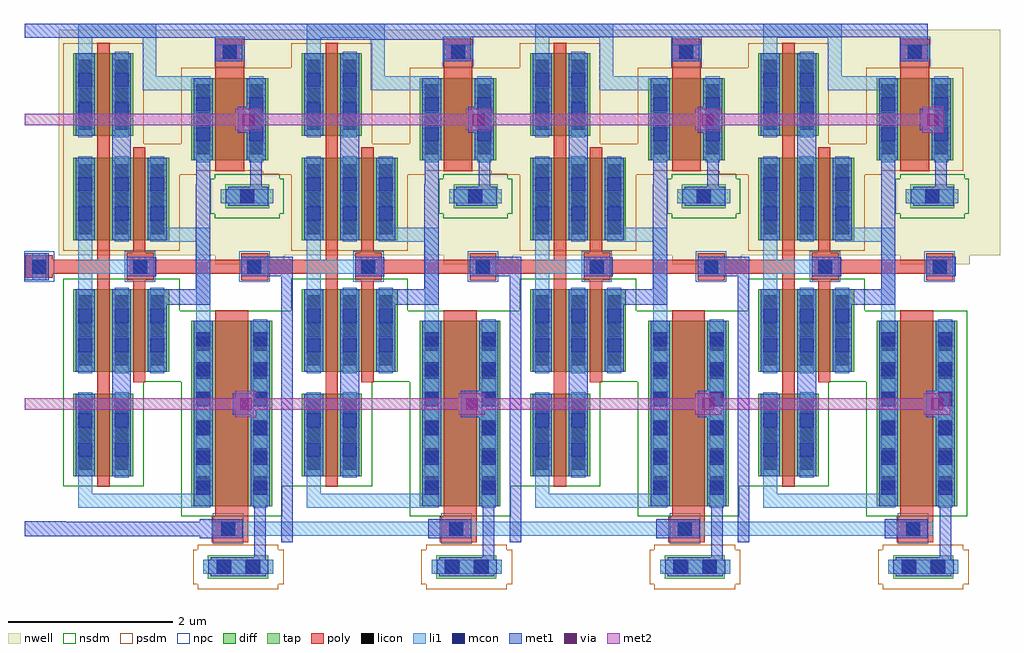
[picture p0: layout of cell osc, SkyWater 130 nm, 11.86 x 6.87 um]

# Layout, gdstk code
import gdstk
lib = gdstk.Library(unit=1e-6, precision=1e-09)
def R(c, l, rs):  # rectangles x0, y0, x1, y1
    for r in rs: c.add(gdstk.rectangle(r[:2], r[2:], *l))
def A(c, l, x, y, w, h, nx, ny, dx, dy):  # array of equal rectangles
    R(c, l, [(x+i*dx, y+j*dy, x+i*dx+w, y+j*dy+h) for i in range(nx) for j in range(ny)])
nwell = (64, 20)
diff = (65, 20)
tap = (65, 44)
poly = (66, 20)
licon = (66, 44)
li1 = (67, 20)
mcon = (67, 44)
met1 = (68, 20)
via = (68, 44)
met2 = (69, 20)
nsdm = (93, 44)
psdm = (94, 20)
npc = (95, 20)

sky130_fd_pr__nfet_01v8_ = lib.new_cell('sky130_fd_pr__nfet_01v8_3RATTY')
R(sky130_fd_pr__nfet_01v8_, diff, [(-0.49,-0.97,0.49,1.28)])
R(sky130_fd_pr__nfet_01v8_, poly, [(-0.245,-1.41,0.2,-1.1), (-0.2,-1.1,0.2,1.41)])
A(sky130_fd_pr__nfet_01v8_, licon, -0.43, -0.78, 0.17, 0.17, 1, 6, 0, 0.34)
A(sky130_fd_pr__nfet_01v8_, licon, 0.26, -0.78, 0.17, 0.17, 1, 6, 0, 0.34)
R(sky130_fd_pr__nfet_01v8_, licon, [(-0.13,-1.33,0.04,-1.16)])
R(sky130_fd_pr__nfet_01v8_, li1, [(-0.245,-1.33,0.155,-1.16), (-0.43,-0.99,-0.26,1.3), (0.26,-0.99,0.43,1.3)])
A(sky130_fd_pr__nfet_01v8_, mcon, -0.43, -0.83, 0.17, 0.17, 1, 6, 0, 0.36)
A(sky130_fd_pr__nfet_01v8_, mcon, 0.26, -0.83, 0.17, 0.17, 1, 6, 0, 0.36)
R(sky130_fd_pr__nfet_01v8_, mcon, [(-0.13,-1.33,0.04,-1.16)])
R(sky130_fd_pr__nfet_01v8_, met1, [(-0.225,-1.36,0.135,-1.13), (-0.46,-0.97,-0.23,1.28), (0.23,-0.97,0.46,1.28)])
R(sky130_fd_pr__nfet_01v8_, nsdm, [(-0.615,-1.095,0.615,1.405)])
R(sky130_fd_pr__nfet_01v8_, npc, [(-0.23,-1.43,0.14,-1.06)])

sky130_fd_pr__pfet_01v8_ = lib.new_cell('sky130_fd_pr__pfet_01v8_HW9MHL')
R(sky130_fd_pr__pfet_01v8_, nwell, [(-0.645,-0.99,0.645,0.8)])
R(sky130_fd_pr__pfet_01v8_, diff, [(-0.465,-0.68,0.465,0.32)])
R(sky130_fd_pr__pfet_01v8_, poly, [(-0.175,-0.81,0.175,0.8)])
A(sky130_fd_pr__pfet_01v8_, licon, -0.405, -0.605, 0.17, 0.17, 1, 3, 0, 0.34)
A(sky130_fd_pr__pfet_01v8_, licon, 0.235, -0.605, 0.17, 0.17, 1, 3, 0, 0.34)
R(sky130_fd_pr__pfet_01v8_, licon, [(-0.085,0.555,0.085,0.725)])
R(sky130_fd_pr__pfet_01v8_, li1, [(-0.405,-0.7,-0.235,0.34), (0.235,-0.7,0.405,0.34), (-0.175,0.555,0.175,0.725)])
R(sky130_fd_pr__pfet_01v8_, mcon, [(-0.405,-0.445,-0.235,-0.275), (0.235,-0.445,0.405,-0.275), (-0.405,-0.085,-0.235,0.085), (0.235,-0.085,0.405,0.085), (-0.085,0.555,0.085,0.725)])
R(sky130_fd_pr__pfet_01v8_, met1, [(-0.435,-0.68,-0.205,0.32), (0.205,-0.68,0.435,0.32), (-0.155,0.525,0.155,0.755)])
R(sky130_fd_pr__pfet_01v8_, psdm, [(-0.59,-0.805,0.59,0.445)])
R(sky130_fd_pr__pfet_01v8_, npc, [(-0.185,0.455,0.185,0.825)])

c_sky130_fd_pr__pfet_01v8_ = lib.new_cell('sky130_fd_pr__pfet_01v8_WXG636')
R(c_sky130_fd_pr__pfet_01v8_, nwell, [(-0.545,-0.68,0.545,0.68)])
R(c_sky130_fd_pr__pfet_01v8_, diff, [(-0.365,-0.5,0.365,0.5)])
R(c_sky130_fd_pr__pfet_01v8_, poly, [(-0.075,-0.63,0.075,0.63)])
A(c_sky130_fd_pr__pfet_01v8_, licon, -0.305, -0.425, 0.17, 0.17, 1, 3, 0, 0.34)
A(c_sky130_fd_pr__pfet_01v8_, licon, 0.135, -0.425, 0.17, 0.17, 1, 3, 0, 0.34)
R(c_sky130_fd_pr__pfet_01v8_, li1, [(-0.305,-0.52,-0.135,0.52), (0.135,-0.52,0.305,0.52)])
R(c_sky130_fd_pr__pfet_01v8_, mcon, [(-0.305,-0.265,-0.135,-0.095), (0.135,-0.265,0.305,-0.095), (-0.305,0.095,-0.135,0.265), (0.135,0.095,0.305,0.265)])
R(c_sky130_fd_pr__pfet_01v8_, met1, [(-0.335,-0.5,-0.105,0.5), (0.105,-0.5,0.335,0.5)])
R(c_sky130_fd_pr__pfet_01v8_, psdm, [(-0.49,-0.625,0.49,0.625)])

c_sky130_fd_pr__pfet_01v8__ = lib.new_cell('sky130_fd_pr__pfet_01v8_EJJ636')
R(c_sky130_fd_pr__pfet_01v8__, nwell, [(-0.545,-0.68,0.545,0.81)])
R(c_sky130_fd_pr__pfet_01v8__, diff, [(-0.365,-0.5,0.365,0.5)])
R(c_sky130_fd_pr__pfet_01v8__, poly, [(-0.075,-0.63,0.075,0.63)])
A(c_sky130_fd_pr__pfet_01v8__, licon, -0.305, -0.425, 0.17, 0.17, 1, 3, 0, 0.34)
A(c_sky130_fd_pr__pfet_01v8__, licon, 0.135, -0.425, 0.17, 0.17, 1, 3, 0, 0.34)
R(c_sky130_fd_pr__pfet_01v8__, li1, [(-0.305,-0.52,-0.135,0.52), (0.135,-0.52,0.305,0.52)])
R(c_sky130_fd_pr__pfet_01v8__, mcon, [(-0.305,-0.265,-0.135,-0.095), (0.135,-0.265,0.305,-0.095), (-0.305,0.095,-0.135,0.265), (0.135,0.095,0.305,0.265)])
R(c_sky130_fd_pr__pfet_01v8__, met1, [(-0.335,-0.5,-0.105,0.5), (0.105,-0.5,0.335,0.5)])
R(c_sky130_fd_pr__pfet_01v8__, psdm, [(-0.49,-0.625,0.49,0.625)])

c_sky130_fd_pr__pfet_01v8___ = lib.new_cell('sky130_fd_pr__pfet_01v8_EJJ636_2')
R(c_sky130_fd_pr__pfet_01v8___, nwell, [(-0.075,-0.68,0.545,0.81)])
R(c_sky130_fd_pr__pfet_01v8___, diff, [(-0.075,-0.5,0.365,0.5)])
R(c_sky130_fd_pr__pfet_01v8___, poly, [(-0.075,-0.63,0.075,0.63)])
A(c_sky130_fd_pr__pfet_01v8___, licon, 0.135, -0.425, 0.17, 0.17, 1, 3, 0, 0.34)
R(c_sky130_fd_pr__pfet_01v8___, li1, [(0.135,-0.52,0.305,0.52)])
R(c_sky130_fd_pr__pfet_01v8___, mcon, [(0.135,-0.265,0.305,-0.095), (0.135,0.095,0.305,0.265)])
R(c_sky130_fd_pr__pfet_01v8___, met1, [(0.105,-0.5,0.335,0.5)])
R(c_sky130_fd_pr__pfet_01v8___, psdm, [(-0.2,-0.625,0.49,0.625)])

c_sky130_fd_pr__nfet_01v8_ = lib.new_cell('sky130_fd_pr__nfet_01v8_2JZFD3')
R(c_sky130_fd_pr__nfet_01v8_, diff, [(-0.365,-0.655,0.365,0.345)])
R(c_sky130_fd_pr__nfet_01v8_, poly, [(-0.075,-0.785,0.075,0.475)])
A(c_sky130_fd_pr__nfet_01v8_, licon, -0.305, -0.58, 0.17, 0.17, 1, 3, 0, 0.34)
A(c_sky130_fd_pr__nfet_01v8_, licon, 0.135, -0.58, 0.17, 0.17, 1, 3, 0, 0.34)
R(c_sky130_fd_pr__nfet_01v8_, li1, [(-0.305,-0.675,-0.135,0.365), (0.135,-0.675,0.305,0.365)])
R(c_sky130_fd_pr__nfet_01v8_, mcon, [(-0.305,-0.42,-0.135,-0.25), (0.135,-0.42,0.305,-0.25), (-0.305,-0.06,-0.135,0.11), (0.135,-0.06,0.305,0.11)])
R(c_sky130_fd_pr__nfet_01v8_, met1, [(-0.335,-0.655,-0.105,0.345), (0.105,-0.655,0.335,0.345)])
R(c_sky130_fd_pr__nfet_01v8_, nsdm, [(-0.49,-0.78,0.49,0.47)])

c_sky130_fd_pr__nfet_01v8__ = lib.new_cell('sky130_fd_pr__nfet_01v8_2SPF2Z')
R(c_sky130_fd_pr__nfet_01v8__, diff, [(-0.365,-0.5,0.365,0.5)])
R(c_sky130_fd_pr__nfet_01v8__, poly, [(-0.075,-0.63,0.075,0.63)])
A(c_sky130_fd_pr__nfet_01v8__, licon, -0.305, -0.425, 0.17, 0.17, 1, 3, 0, 0.34)
A(c_sky130_fd_pr__nfet_01v8__, licon, 0.135, -0.425, 0.17, 0.17, 1, 3, 0, 0.34)
R(c_sky130_fd_pr__nfet_01v8__, li1, [(-0.305,-0.52,-0.135,0.52), (0.135,-0.52,0.305,0.52)])
R(c_sky130_fd_pr__nfet_01v8__, mcon, [(-0.305,-0.265,-0.135,-0.095), (0.135,-0.265,0.305,-0.095), (-0.305,0.095,-0.135,0.265), (0.135,0.095,0.305,0.265)])
R(c_sky130_fd_pr__nfet_01v8__, met1, [(-0.335,-0.5,-0.105,0.5), (0.105,-0.5,0.335,0.5)])
R(c_sky130_fd_pr__nfet_01v8__, nsdm, [(-0.49,-0.625,0.49,0.625)])

c_sky130_fd_pr__nfet_01v8___ = lib.new_cell('sky130_fd_pr__nfet_01v8_QRJQW7')
R(c_sky130_fd_pr__nfet_01v8___, diff, [(-0.075,-0.5,0.365,0.5)])
R(c_sky130_fd_pr__nfet_01v8___, poly, [(-0.075,-0.63,0.075,0.63)])
A(c_sky130_fd_pr__nfet_01v8___, licon, 0.135, -0.425, 0.17, 0.17, 1, 3, 0, 0.34)
R(c_sky130_fd_pr__nfet_01v8___, li1, [(0.135,-0.52,0.305,0.52)])
R(c_sky130_fd_pr__nfet_01v8___, mcon, [(0.135,-0.265,0.305,-0.095), (0.135,0.095,0.305,0.265)])
R(c_sky130_fd_pr__nfet_01v8___, met1, [(0.105,-0.5,0.335,0.5)])
R(c_sky130_fd_pr__nfet_01v8___, nsdm, [(-0.2,-0.625,0.49,0.625)])

schmtrigg = lib.new_cell('schmTrigg')
R(schmtrigg, nwell, [(6.575,-6.935,7.415,-6.825), (6.15,-6.825,7.785,-5.92), (6.42,-5.92,7.785,-5.36), (5.725,-5.41,6.115,-5.37), (5.32,-5.385,5.55,-5.28), (5.725,-5.37,6.195,-5.36), (5.725,-5.36,7.785,-4.985), (5.32,-5.28,5.52,-5.25), (5.76,-4.985,7.785,-4.475), (5.76,-4.475,6.455,-4.47), (6.575,-4.475,7.785,-4.47), (5.76,-4.47,6.17,-4.255), (6.575,-4.47,7.265,-4.235), (7.39,-4.47,7.785,-4.235), (5.715,-4.255,6.17,-4.235), (4.67,-4.235,6.17,-4.21), (6.575,-4.235,7.785,-4.21), (4.67,-4.21,7.785,-4.09)])
R(schmtrigg, tap, [(6.485,-10.76,7.215,-10.7), (6.43,-10.7,7.28,-10.53), (6.485,-10.53,7.215,-10.47), (6.695,-6.255,7.23,-6.195), (6.64,-6.195,7.28,-6.025), (6.695,-6.025,7.23,-5.965)])
R(schmtrigg, poly, [(5.14,-8.515,5.29,-8.24), (5.575,-7.24,5.725,-7.13), (5.5,-7.13,5.825,-7.05), (6.89,-7.13,7.215,-7.05), (5.14,-7.11,5.29,-7.05), (4.67,-7.05,5.29,-6.88), (5.5,-7.05,7.215,-6.88), (5.14,-6.88,5.29,-6.645), (5.5,-6.88,5.825,-6.795), (6.89,-6.88,7.215,-6.8), (5.575,-6.795,5.725,-6.645), (5.14,-5.645,5.29,-5.375)])
R(schmtrigg, licon, [(6.6,-10.7,6.77,-10.53), (6.94,-10.7,7.11,-10.53), (5.575,-7.05,5.745,-6.88), (6.965,-7.05,7.135,-6.88), (6.875,-6.195,7.045,-6.025)])
R(schmtrigg, li1, [(6.43,-10.7,7.28,-10.53), (4.91,-9.895,6.35,-9.725), (4.91,-9.725,5.08,-9.515), (6.345,-7.605,6.515,-6.665), (4.91,-7.39,5.05,-7.22), (4.91,-7.22,5.08,-7.05), (4.91,-7.05,5.825,-6.88), (6.885,-7.05,7.215,-6.88), (4.91,-6.88,5.08,-6.665), (4.91,-6.665,5.05,-6.495), (5.785,-6.665,6.515,-6.495), (6.64,-6.195,7.28,-6.025), (5.69,-4.825,6.515,-4.655), (5.69,-4.655,5.86,-4.185), (4.91,-4.52,5.08,-4.185), (4.91,-4.185,5.86,-4.015)])
R(schmtrigg, mcon, [(6.59,-10.7,6.76,-10.53), (6.95,-10.7,7.12,-10.53), (5.575,-7.05,5.745,-6.88), (6.965,-7.05,7.135,-6.88), (6.875,-6.195,7.045,-6.025)])
R(schmtrigg, met1, [(6.52,-10.73,7.19,-10.7), (6.49,-10.7,7.22,-10.53), (6.52,-10.53,7.19,-10.5), (7.05,-10.5,7.19,-9.875), (6.385,-10.265,6.745,-10.035), (7.05,-9.875,7.235,-9.665), (7.095,-9.665,7.235,-9.645), (5.32,-8.51,5.55,-8.24), (5.755,-7.47,5.985,-7.43), (5.755,-7.43,6.515,-7.24), (6.34,-7.24,6.515,-5.965), (5.5,-7.08,5.855,-6.85), (6.89,-7.08,7.245,-6.845), (5.5,-6.85,5.825,-6.845), (6.73,-6.225,7.22,-6.195), (6.7,-6.195,7.22,-6.025), (6.73,-6.025,7.22,-5.995), (7,-5.995,7.14,-5.435), (6.345,-5.965,6.515,-5.645), (5.32,-5.645,5.55,-5.28), (5.32,-5.28,5.52,-5.25), (7.045,-4.75,7.185,-4.675), (6.575,-4.47,6.905,-4.195)])
R(schmtrigg, nsdm, [(4.725,-8.385,5.705,-8.365), (6.14,-8.365,6.16,-7.5), (6.57,-6.38,7.355,-6.32), (6.515,-6.32,7.405,-5.9), (6.57,-5.9,7.355,-5.84)])
R(schmtrigg, psdm, [(6.36,-10.885,7.34,-10.825), (6.305,-10.825,7.405,-10.405), (6.36,-10.405,7.34,-10.345), (6.14,-5.85,6.35,-5.8), (6.14,-5.8,6.16,-5.52), (4.725,-5.52,6.16,-5.5), (5.705,-5.5,6.16,-5.47)])
R(schmtrigg, npc, [(5.475,-7.15,5.845,-6.78), (6.865,-7.15,7.235,-6.78)])
schmtrigg.add(gdstk.Reference(sky130_fd_pr__nfet_01v8_, (6.775,-8.905)))
schmtrigg.add(gdstk.Reference(sky130_fd_pr__pfet_01v8_, (6.75,-4.995)))
schmtrigg.add(gdstk.Reference(c_sky130_fd_pr__pfet_01v8_, (5.215,-4.875)))
schmtrigg.add(gdstk.Reference(c_sky130_fd_pr__pfet_01v8__, (5.215,-6.145)))
schmtrigg.add(gdstk.Reference(c_sky130_fd_pr__pfet_01v8___, (5.65,-6.145)))
schmtrigg.add(gdstk.Reference(c_sky130_fd_pr__nfet_01v8_, (5.215,-7.585)))
schmtrigg.add(gdstk.Reference(c_sky130_fd_pr__nfet_01v8__, (5.215,-9.01)))
schmtrigg.add(gdstk.Reference(c_sky130_fd_pr__nfet_01v8___, (5.65,-7.74)))

osc = lib.new_cell('osc')
R(osc, nwell, [(3.025,3.495,4.45,3.5), (5.8,3.495,7.12,3.5), (8.505,3.495,10.19,4.85), (3.015,3.5,7.465,3.565), (2.99,3.565,7.465,3.97), (2.99,3.97,3.17,4.85), (5.77,3.97,5.94,4.85), (0.33,4.85,11.27,5.7), (2.99,5.7,3.17,6.23), (5.77,5.7,5.94,6.23), (8.505,5.7,10.19,6.23)])
R(osc, poly, [(-0.09,3.22,0.24,3.27), (-0.09,3.27,0.48,3.44), (2.82,3.27,3.325,3.44), (5.63,3.27,6.1,3.44), (8.35,3.27,8.875,3.44), (-0.09,3.44,0.24,3.49)])
R(osc, licon, [(-0.01,3.27,0.16,3.44)])
R(osc, li1, [(2.225,0.085,10.94,0.255), (-0.01,3.19,0.16,3.52)])
R(osc, mcon, [(-0.01,3.27,0.16,3.44)])
A(osc, met1, 3.015, 0.005, 0.14, 3.235, 3, 1, 2.775, 0)
R(osc, met1, [(-0.1,0.08,2.235,0.255), (-0.1,0.255,0.4,0.26), (5.2,1.525,5.46,1.845), (8.075,1.525,8.335,1.845), (10.855,1.525,11.115,1.845), (2.425,1.555,2.745,1.815), (-0.1,3.19,0.19,3.52), (2.86,3.24,3.155,3.475), (5.64,3.24,5.93,3.47), (8.33,3.24,8.705,3.475), (5.655,3.47,5.93,3.475), (2.49,4.98,2.75,5.3), (5.29,4.98,5.55,5.3), (8.075,4.98,8.335,5.3), (10.775,5.01,11.095,5.27), (5.26,6.005,5.32,6.05), (7.765,6.005,8.095,6.14), (10.54,6.01,10.87,6.14), (2.295,6.05,2.485,6.11), (5.07,6.05,5.32,6.11), (2.215,6.11,5.32,6.135), (-0.1,6.135,5.32,6.14), (-0.1,6.14,10.87,6.305)])
R(osc, via, [(2.51,1.61,2.66,1.76), (5.255,1.61,5.405,1.76), (8.13,1.61,8.28,1.76), (10.91,1.61,11.06,1.76), (2.545,5.065,2.695,5.215), (5.345,5.065,5.495,5.215), (8.13,5.065,8.28,5.215), (10.86,5.065,11.01,5.215)])
R(osc, met2, [(2.455,1.525,2.715,1.615), (5.17,1.555,5.49,1.615), (8.045,1.555,8.365,1.615), (10.825,1.555,11.145,1.615), (-0.1,1.615,11.145,1.755), (2.455,1.755,2.715,1.845), (5.17,1.755,5.49,1.815), (8.045,1.755,8.365,1.815), (10.825,1.755,11.145,1.815), (10.805,4.98,11.065,5.07), (2.46,5.01,2.78,5.07), (5.26,5.01,5.58,5.07), (8.045,5.01,8.365,5.07), (-0.1,5.07,11.065,5.21), (2.46,5.21,2.78,5.27), (5.26,5.21,5.58,5.27), (8.045,5.21,8.365,5.27), (10.805,5.21,11.065,5.3)])
A(osc, nsdm, 3.03, 0.685, 0.11, 2.135, 3, 1, 2.775, 0)
A(osc, psdm, 2.995, 4.47, 0.145, 0.01, 3, 1, 2.775, 0)
A(osc, psdm, 2.79, 4.48, 0.35, 0.04, 3, 1, 2.775, 0)
A(osc, psdm, 2.98, 4.52, 0.16, 1.25, 3, 1, 2.775, 0)
R(osc, npc, [(-0.11,3.17,0.26,3.54)])
osc.add(gdstk.Reference(schmtrigg, (3.965,10.32)))
osc.add(gdstk.Reference(schmtrigg, (-4.36,10.32)))
osc.add(gdstk.Reference(schmtrigg, (-1.585,10.32)))
osc.add(gdstk.Reference(schmtrigg, (1.19,10.32)))

lib.write_gds('osc.gds')
